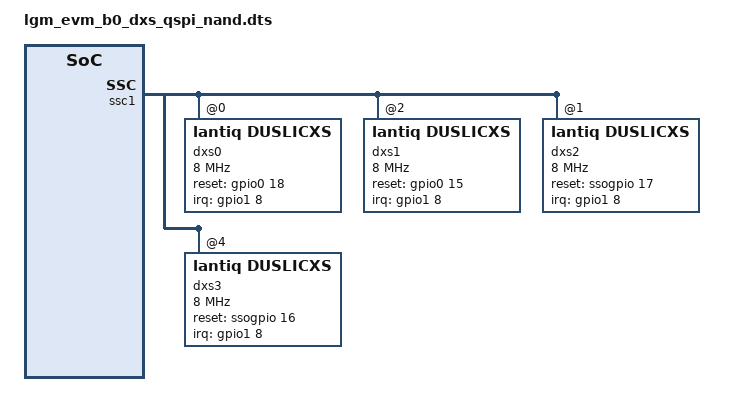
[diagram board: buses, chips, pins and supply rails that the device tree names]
// SPDX-License-Identifier: GPL-2.0
/*
 * Copyright (C) 2021 MaxLinear, Inc.
 */

#include "lgm_evm_b0_qspi_nand.dts"

/*
   Disable SLIC220
 */
&irc0 { /* vcodec0 irq */
	status = "disabled";
};

&irc1 {/* vcodec1 irq */
	status = "disabled";
};

&vcodec0 {
	status = "disabled";
};

&vcodec1 {
	status = "disabled";
};

/*
   Enable DXS
 */

&c55 {
	pinctrl-names = "default";
	pinctrl-0 = <&pinctrl_c55_tdm1>;
};

/* pin conflict with dxs3 */
&ptn5150_1 {
	status = "disabled";
};

/* pin conflict with dxs3 */
&led16 {
	status = "disabled";
};

/* pin conflict with dxs2 */
&led17 {
	status = "disabled";
};

&ssc1 {
	status = "okay";
	pinctrl-names = "default";
	pinctrl-0 = <&pinctrl_spi1>;

	dxs0: dxs@0 {
		status = "okay";
		compatible = "lantiq,duslicxs";
		reg = <0>;
		spi-max-frequency = <8000000>;
		spi-cpha;
		spi-cpol;
		interrupt-parent = <&gpio1>;
		interrupts = <8 1>;
		pinctrl-names = "default";
		pinctrl-0 = <&pinctrl_spi1_cs0>;
		intel,reset-gpios = <&gpio0 18 GPIO_ACTIVE_HIGH>;
		intel,reset-interval = <10>;
	};

	dxs1: dxs@2 {
		status = "okay";
		compatible = "lantiq,duslicxs";
		reg = <2>;
		spi-max-frequency = <8000000>;
		spi-cpha;
		spi-cpol;
		interrupt-parent = <&gpio1>;
		interrupts = <8 1>;
		pinctrl-names = "default";
		pinctrl-0 = <&pinctrl_spi1_cs2>;
		intel,reset-gpios = <&gpio0 15 GPIO_ACTIVE_HIGH>;
		intel,reset-interval = <10>;
	};

	dxs2: dxs@1 {
		status = "okay";
		compatible = "lantiq,duslicxs";
		reg = <1>;
		spi-max-frequency = <8000000>;
		spi-cpha;
		spi-cpol;
		interrupt-parent = <&gpio1>;
		interrupts = <8 1>;
		pinctrl-names = "default";
		pinctrl-0 = <&pinctrl_spi1_cs1>;
		intel,reset-gpios = <&ssogpio 17 GPIO_ACTIVE_HIGH>;
		intel,reset-interval = <10>;
	};

	dxs3: dxs@4 {
		status = "okay";
		compatible = "lantiq,duslicxs";
		reg = <4>;
		spi-max-frequency = <8000000>;
		spi-cpha;
		spi-cpol;
		interrupt-parent = <&gpio1>;
		interrupts = <8 1>;
		pinctrl-names = "default";
		pinctrl-0 = <&pinctrl_spi1_cs4>;
		intel,reset-gpios = <&ssogpio 16 GPIO_ACTIVE_HIGH>;
		intel,reset-interval = <10>;
	};
};
